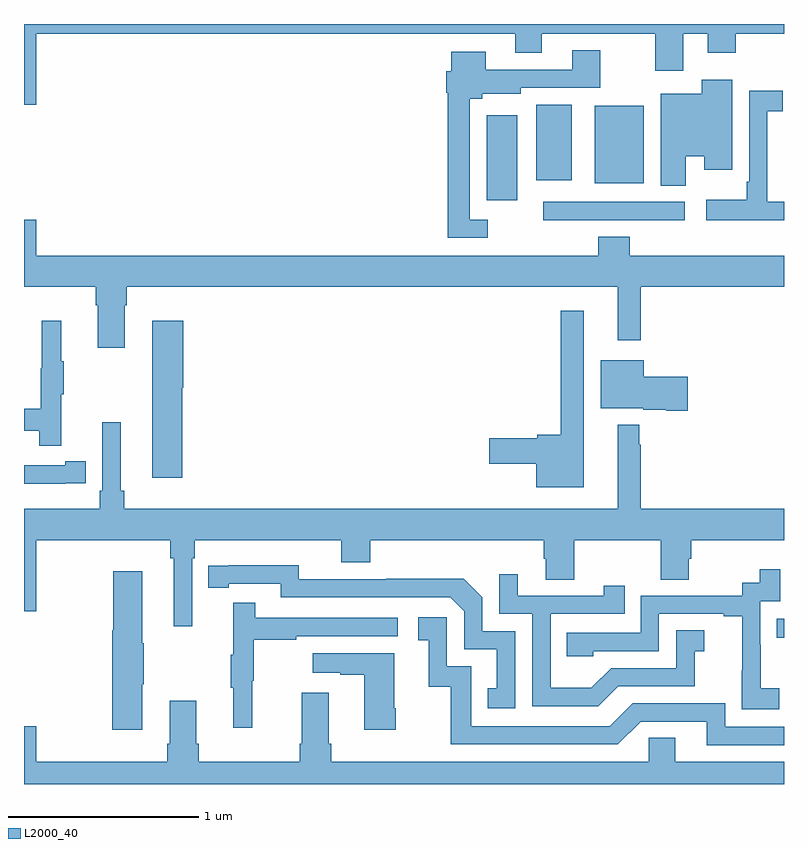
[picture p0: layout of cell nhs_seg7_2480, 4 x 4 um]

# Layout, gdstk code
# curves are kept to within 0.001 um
import gdstk
lib = gdstk.Library(unit=1e-6, precision=1e-09)
def R(c, l, rs):  # rectangles x0, y0, x1, y1
    for r in rs: c.add(gdstk.rectangle(r[:2], r[2:], *l))
def P(c, l, *ps):  # polygons
    for p in ps: c.add(gdstk.Polygon(p, *l))
L2000_40 = (2000, 40)

nhs_seg7_2480 = lib.new_cell('nhs_seg7_2480')
R(nhs_seg7_2480, L2000_40, [(276.961,998.77,277,998.871), (275.733,1000.968,276.478,1001.064), (275.435,1001.073,275.596,1001.521), (276.005,1001.162,276.262,1001.569), (275.696,1001.177,275.884,1001.575)])
P(nhs_seg7_2480, L2000_40, [(275.585,1001.849),(275.725,1001.849),(275.725,1001.948),(276.322,1001.948),(276.322,1001.754),(276.469,1001.754),(276.469,1001.948),(276.599,1001.948),(276.599,1001.849),(276.747,1001.849),(276.747,1001.948),(277,1001.948),(277,1002),(273,1002),(273,1001.574),(273.064,1001.574),(273.064,1001.948),(275.585,1001.948)],
  [(275.44,1000.971),(275.346,1000.971),(275.346,1001.606),(275.412,1001.606),(275.412,1001.633),(275.614,1001.633),(275.614,1001.664),(276.033,1001.664),(276.033,1001.863),(275.885,1001.863),(275.885,1001.76),(275.431,1001.76),(275.431,1001.854),(275.249,1001.854),(275.249,1001.751),(275.222,1001.751),(275.222,1001.637),(275.23,1001.637),(275.23,1000.875),(275.44,1000.875)],
  [(276.484,1001.303),(276.581,1001.303),(276.581,1001.232),(276.727,1001.232),(276.727,1001.707),(276.566,1001.707),(276.566,1001.632),(276.35,1001.632),(276.35,1001.149),(276.484,1001.149)],
  [(277,1001.064),(276.912,1001.064),(276.912,1001.541),(276.994,1001.541),(276.994,1001.65),(276.816,1001.65),(276.816,1001.17),(276.804,1001.17),(276.804,1001.074),(276.591,1001.074),(276.591,1000.967),(277,1000.967)],
  [(273.529,1000.52),(273.542,1000.52),(273.542,1000.616),(276.125,1000.616),(276.125,1000.335),(276.247,1000.335),(276.247,1000.616),(277,1000.616),(277,1000.78),(276.188,1000.78),(276.188,1000.879),(276.023,1000.879),(276.023,1000.78),(273.064,1000.78),(273.064,1000.969),(273,1000.969),(273,1000.616),(273.377,1000.616),(273.377,1000.52),(273.389,1000.52),(273.389,1000.296),(273.529,1000.296)],
  [(275.947,1000.492),(275.826,1000.492),(275.826,999.839),(275.7,999.839),(275.7,999.821),(275.448,999.821),(275.448,999.686),(275.696,999.686),(275.696,999.563),(275.947,999.563)],
  [(273.197,1000.051),(273.208,1000.051),(273.208,1000.225),(273.197,1000.225),(273.197,1000.438),(273.094,1000.438),(273.094,1000.188),(273.087,1000.188),(273.087,999.974),(273,999.974),(273,999.858),(273.079,999.858),(273.079,999.78),(273.197,999.78)],
  [(273.833,1000.086),(273.838,1000.086),(273.838,1000.438),(273.674,1000.438),(273.674,999.612),(273.833,999.612)],
  [(276.493,1000.143),(276.262,1000.143),(276.262,1000.231),(276.035,1000.231),(276.035,999.977),(276.258,999.977),(276.258,999.971),(276.38,999.971),(276.38,999.965),(276.493,999.965)],
  [(273.885,999.188),(273.899,999.188),(273.899,999.284),(274.67,999.284),(274.67,999.167),(274.823,999.167),(274.823,999.284),(275.735,999.284),(275.735,999.186),(275.747,999.186),(275.747,999.076),(275.895,999.076),(275.895,999.284),(276.352,999.284),(276.352,999.076),(276.499,999.076),(276.499,999.186),(276.512,999.186),(276.512,999.284),(277,999.284),(277,999.448),(276.247,999.448),(276.247,999.785),(276.239,999.785),(276.239,999.892),(276.125,999.892),(276.125,999.448),(273.527,999.448),(273.527,999.544),(273.508,999.544),(273.508,999.904),(273.411,999.904),(273.411,999.544),(273.398,999.544),(273.398,999.448),(273,999.448),(273,998.91),(273.064,998.91),(273.064,999.284),(273.769,999.284),(273.769,999.188),(273.788,999.188),(273.788,998.829),(273.885,998.829)],
  [(273.218,999.582),(273.326,999.582),(273.326,999.698),(273.218,999.698),(273.218,999.678),(273,999.678),(273,999.581),(273.218,999.581)],
  [(275.586,998.805),(275.412,998.805),(275.412,998.982),(275.314,999.08),(274.906,999.08),(274.906,999.078),(274.446,999.078),(274.446,999.151),(273.97,999.15),(273.97,999.034),(274.078,999.034),(274.078,999.054),(274.35,999.054),(274.35,998.982),(275.244,998.982),(275.316,998.91),(275.316,998.709),(275.489,998.709),(275.489,998.505),(275.44,998.505),(275.44,998.4),(275.586,998.4)],
  [(276.976,998.503),(276.878,998.503),(276.878,998.732),(276.876,998.732),(276.876,998.961),(276.981,998.961),(276.981,999.13),(276.873,999.13),(276.873,999.06),(276.78,999.06),(276.78,998.991),(276.246,998.991),(276.246,998.796),(275.857,998.796),(275.857,998.673),(275.997,998.673),(275.997,998.7),(276.342,998.7),(276.342,998.895),(276.683,998.895),(276.683,998.883),(276.779,998.883),(276.779,998.599),(276.778,998.599),(276.778,998.393),(276.976,998.393)],
  [(273.622,998.524),(273.63,998.524),(273.63,998.741),(273.622,998.741),(273.622,999.121),(273.469,999.121),(273.469,998.808),(273.464,998.808),(273.464,998.286),(273.622,998.286)],
  [(276.127,998.514),(276.531,998.514),(276.531,998.699),(276.58,998.699),(276.58,998.809),(276.432,998.809),(276.432,998.61),(276.09,998.61),(275.986,998.506),(275.772,998.506),(275.772,998.895),(276.161,998.895),(276.161,999.043),(276.05,999.043),(276.05,998.991),(275.599,998.991),(275.599,999.103),(275.502,999.103),(275.502,998.895),(275.676,998.895),(275.676,998.409),(276.022,998.409)],
  [(274.202,998.544),(274.21,998.544),(274.21,998.758),(274.433,998.758),(274.433,998.778),(274.966,998.778),(274.966,998.874),(274.217,998.874),(274.217,998.953),(274.1,998.953),(274.1,998.681),(274.089,998.681),(274.089,998.507),(274.1,998.507),(274.1,998.295),(274.202,998.295)],
  [(277,998.301),(276.69,998.301),(276.69,998.424),(276.204,998.424),(276.084,998.304),(275.355,998.304),(275.355,998.619),(275.226,998.619),(275.226,998.878),(275.076,998.878),(275.076,998.757),(275.129,998.757),(275.129,998.511),(275.247,998.511),(275.247,998.208),(276.126,998.208),(276.246,998.328),(276.593,998.328),(276.593,998.205),(277,998.205)],
  [(274.956,998.398),(274.948,998.398),(274.948,998.689),(274.521,998.689),(274.521,998.585),(274.664,998.585),(274.664,998.575),(274.79,998.575),(274.79,998.286),(274.956,998.286)],
  [(277,998.116),(276.427,998.116),(276.427,998.243),(276.288,998.243),(276.288,998.116),(274.616,998.116),(274.616,998.212),(274.603,998.212),(274.603,998.479),(274.463,998.479),(274.463,998.212),(274.451,998.212),(274.451,998.116),(273.92,998.116),(273.92,998.212),(273.907,998.212),(273.907,998.437),(273.767,998.437),(273.767,998.212),(273.755,998.212),(273.755,998.116),(273.064,998.116),(273.064,998.305),(273,998.305),(273,998),(277,998)])

lib.write_gds('nhs_seg7_2480.gds')
